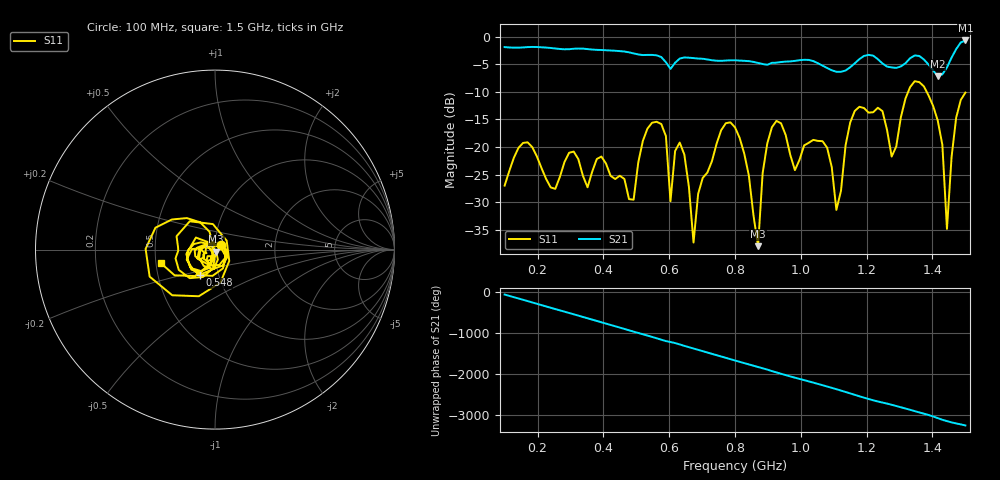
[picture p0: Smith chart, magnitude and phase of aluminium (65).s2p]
! NanoVNA-App
! Date: 2025-09-26 09:58:34
! Start: 100MHz Stop: 1,5GHz Points: 101
! S-Parameter data: F S11 S21 S12 S22
# Hz S RI R 50
!  Frequency  S11_Real  S11_Imag  S21_Real  S21_Imag  S12_Real  S12_Imag  S22_Real  S22_Imag
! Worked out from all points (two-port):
!   101 points, 100 MHz to 1.5 GHz, reference 50 ohm
!   highest |S21| = -0.71 dB at 1.5 GHz (marker M1); lowest = -7.2 dB at 1.416 GHz (marker M2)
!   |S21| within 3 dB of the highest: start of sweep to 575.8 MHz; 1.187 GHz to 1.225 GHz (38.39 MHz wide, 3.18 % of centre)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
!   lowest |S11| = -37.9 dB at 870 MHz (marker M3), VSWR 1.03, Z = 50.6 - j1.12 ohm
!   |S11| at or under -10 dB: start of sweep to 1.326 GHz; 1.382 GHz to end of sweep
!   S12 and S22 are empty: the file has one direction only
!   S11 on the Smith chart (normalised r, x): 100 MHz: 1.07, +0.06; 548 MHz: 0.81, -0.24; 1.5 GHz: 0.53, -0.09
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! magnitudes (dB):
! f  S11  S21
! 100 MHz  -27.0  -1.9
! 170 MHz  -19.1  -1.9
! 338 MHz  -25.2  -2.2
! 492 MHz  -29.5  -3.1
! 548 MHz  -15.6  -3.3
! 576 MHz  -15.8  -3.7
! 604 MHz  -29.8  -5.9
! 646 MHz  -21.3  -3.8
! 674 MHz  -37.3  -3.9
! 702 MHz  -25.6  -4.0
! 800 MHz  -16.4  -4.3
! 870 MHz  -37.9  -4.8
! 912 MHz  -16.4  -4.8
! 1.038 GHz  -18.7  -4.4
! 1.108 GHz  -31.4  -6.4
! 1.164 GHz  -13.5  -4.8
! 1.276 GHz  -21.7  -5.6
! 1.346 GHz  -8.1  -3.4
! 1.416 GHz  -15.2  -7.2
! 1.444 GHz  -34.8  -5.6
! 1.472 GHz  -14.7  -2.3
! 1.5 GHz  -10.1  -0.7
